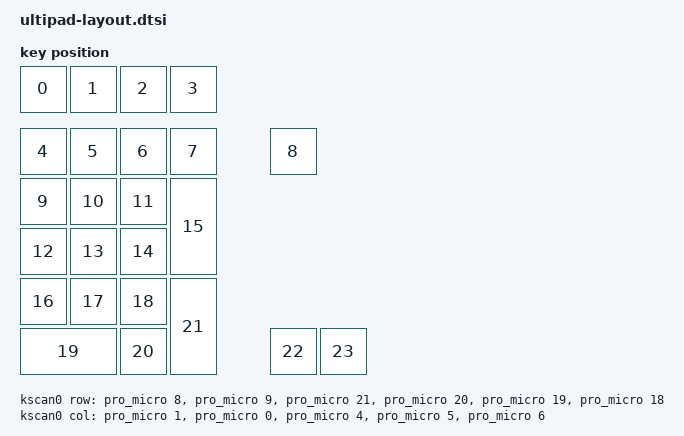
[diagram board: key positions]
/*
 * Copyright (c) 2024 The ZMK Contributors
 *
 * SPDX-License-Identifier: MIT
 */

#include <physical_layouts.dtsi>

/ {
    chosen {
        zmk,physical-layout = &physical_layout0;
    };

    kscan0: kscan0 {
        compatible = "zmk,kscan-gpio-matrix";
        wakeup-source;

        diode-direction = "col2row";
        row-gpios
            = <&pro_micro 8 (GPIO_ACTIVE_HIGH | GPIO_PULL_DOWN)>
            , <&pro_micro 9 (GPIO_ACTIVE_HIGH | GPIO_PULL_DOWN)>
            , <&pro_micro 21 (GPIO_ACTIVE_HIGH | GPIO_PULL_DOWN)>
            , <&pro_micro 20 (GPIO_ACTIVE_HIGH | GPIO_PULL_DOWN)>
            , <&pro_micro 19 (GPIO_ACTIVE_HIGH | GPIO_PULL_DOWN)>
            , <&pro_micro 18 (GPIO_ACTIVE_HIGH | GPIO_PULL_DOWN)>
            ;
        col-gpios
            = <&pro_micro 1  GPIO_ACTIVE_HIGH>
            , <&pro_micro 0  GPIO_ACTIVE_HIGH>
            , <&pro_micro 4  GPIO_ACTIVE_HIGH>
            , <&pro_micro 5  GPIO_ACTIVE_HIGH>
            , <&pro_micro 6 GPIO_ACTIVE_HIGH>
            ;
    };

    physical_layout0: physical_layout_0 {
        compatible = "zmk,physical-layout";
        display-name = "LAYOUT";

        kscan = <&kscan0>;
        transform = <&matrix_transform0>;

        keys  //                     w   h    x    y     rot    rx    ry
            = <&key_physical_attrs 100 100    0    0       0     0     0>
            , <&key_physical_attrs 100 100  100    0       0     0     0>
            , <&key_physical_attrs 100 100  200    0       0     0     0>
            , <&key_physical_attrs 100 100  300    0       0     0     0>
            , <&key_physical_attrs 100 100    0  125       0     0     0>
            , <&key_physical_attrs 100 100  100  125       0     0     0>
            , <&key_physical_attrs 100 100  200  125       0     0     0>
            , <&key_physical_attrs 100 100  300  125       0     0     0>
            , <&key_physical_attrs 100 100  500  125       0     0     0>
            , <&key_physical_attrs 100 100    0  225       0     0     0>
            , <&key_physical_attrs 100 100  100  225       0     0     0>
            , <&key_physical_attrs 100 100  200  225       0     0     0>
            , <&key_physical_attrs 100 100    0  325       0     0     0>
            , <&key_physical_attrs 100 100  100  325       0     0     0>
            , <&key_physical_attrs 100 100  200  325       0     0     0>
            , <&key_physical_attrs 100 200  300  225       0     0     0>
            , <&key_physical_attrs 100 100    0  425       0     0     0>
            , <&key_physical_attrs 100 100  100  425       0     0     0>
            , <&key_physical_attrs 100 100  200  425       0     0     0>
            , <&key_physical_attrs 200 100    0  525       0     0     0>
            , <&key_physical_attrs 100 100  200  525       0     0     0>
            , <&key_physical_attrs 100 200  300  425       0     0     0>
            , <&key_physical_attrs 100 100  500  525       0     0     0>
            , <&key_physical_attrs 100 100  600  525       0     0     0>
            ;
    };

    position_map {
        compatible = "zmk,physical-layout-position-map";
        default_map {
            physical-layout = <&physical_layout0>;
            positions
                = <11 21 23 25 22 17 18 19 20 13 14 15  8  9 10 27>
                , <28 29 16 26 24>
                ;
        };
    };
};
